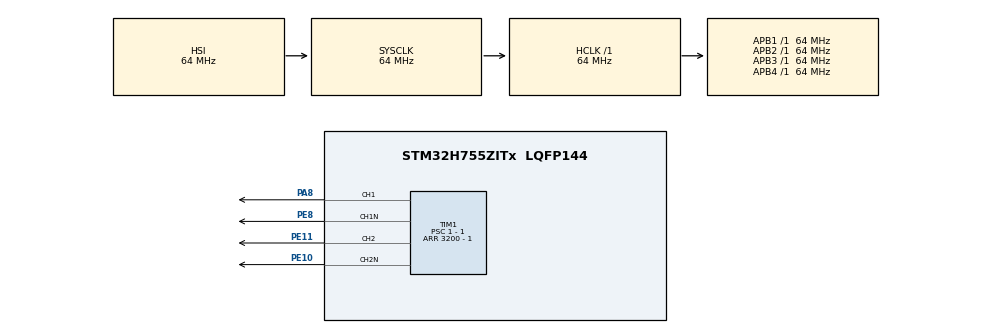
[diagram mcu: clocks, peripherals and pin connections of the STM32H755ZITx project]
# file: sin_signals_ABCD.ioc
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CortexM4.IPs=FATFS_M4\:I,FREERTOS_M4\:I,IWDG2\:I,RCC,WWDG2\:I,DMA,BDMA,MDMA,NVIC2\:I,ETH,USART3,DEBUG,PDM2PCM_M4\:I,PWR,RESMGR_UTILITY,SYS_M4\:I,USB_DEVICE_M4\:I,USB_HOST_M4\:I,CORTEX_M4\:I,GPIO,OPENAMP_M4\:I,VREFBUF,NUCLEO-H755ZI-Q
CortexM7.IPs=FATFS_M7\:I,FREERTOS_M7\:I,IWDG1\:I,RCC\:I,WWDG1\:I,DMA\:I,BDMA\:I,MDMA\:I,NVIC1\:I,ETH\:I,USART3\:I,USB_OTG_FS\:I,SYS\:I,CORTEX_M7\:I,DEBUG\:I,PDM2PCM_M7\:I,PWR\:I,RESMGR_UTILITY\:I,USB_DEVICE_M7\:I,USB_HOST_M7\:I,GPIO\:I,OPENAMP_M7\:I,VREFBUF\:I,NUCLEO-H755ZI-Q\:I,TIM1\:I
Dma.Request0=TIM1_CH1
Dma.Request1=TIM1_CH2
Dma.TIM1_CH1.0.Direction=DMA_MEMORY_TO_PERIPH
Dma.TIM1_CH1.0.EventEnable=DISABLE
Dma.TIM1_CH1.0.FIFOMode=DMA_FIFOMODE_ENABLE
Dma.TIM1_CH1.0.FIFOThreshold=DMA_FIFO_THRESHOLD_FULL
Dma.TIM1_CH1.0.Instance=DMA1_Stream0
Dma.TIM1_CH1.0.MemBurst=DMA_MBURST_SINGLE
Dma.TIM1_CH1.0.MemDataAlignment=DMA_MDATAALIGN_WORD
Dma.TIM1_CH1.0.MemInc=DMA_MINC_ENABLE
Dma.TIM1_CH1.0.Mode=DMA_CIRCULAR
Dma.TIM1_CH1.0.PeriphBurst=DMA_PBURST_SINGLE
Dma.TIM1_CH1.0.PeriphDataAlignment=DMA_PDATAALIGN_WORD
Dma.TIM1_CH1.0.PeriphInc=DMA_PINC_DISABLE
Dma.TIM1_CH1.0.Polarity=HAL_DMAMUX_REQ_GEN_RISING
Dma.TIM1_CH1.0.Priority=DMA_PRIORITY_LOW
Dma.TIM1_CH1.0.RequestNumber=1
Dma.TIM1_CH1.0.SignalID=NONE
Dma.TIM1_CH1.0.SyncEnable=DISABLE
Dma.TIM1_CH1.0.SyncPolarity=HAL_DMAMUX_SYNC_NO_EVENT
Dma.TIM1_CH1.0.SyncRequestNumber=1
Dma.TIM1_CH1.0.SyncSignalID=NONE
Dma.TIM1_CH2.1.Direction=DMA_MEMORY_TO_PERIPH
Dma.TIM1_CH2.1.EventEnable=DISABLE
Dma.TIM1_CH2.1.FIFOMode=DMA_FIFOMODE_ENABLE
Dma.TIM1_CH2.1.FIFOThreshold=DMA_FIFO_THRESHOLD_FULL
Dma.TIM1_CH2.1.Instance=DMA1_Stream1
Dma.TIM1_CH2.1.MemBurst=DMA_MBURST_SINGLE
Dma.TIM1_CH2.1.MemDataAlignment=DMA_MDATAALIGN_WORD
Dma.TIM1_CH2.1.MemInc=DMA_MINC_ENABLE
Dma.TIM1_CH2.1.Mode=DMA_CIRCULAR
Dma.TIM1_CH2.1.PeriphBurst=DMA_PBURST_SINGLE
Dma.TIM1_CH2.1.PeriphDataAlignment=DMA_PDATAALIGN_WORD
Dma.TIM1_CH2.1.PeriphInc=DMA_PINC_DISABLE
Dma.TIM1_CH2.1.Polarity=HAL_DMAMUX_REQ_GEN_RISING
Dma.TIM1_CH2.1.Priority=DMA_PRIORITY_LOW
Dma.TIM1_CH2.1.RequestNumber=1
Dma.TIM1_CH2.1.SignalID=NONE
Dma.TIM1_CH2.1.SyncEnable=DISABLE
Dma.TIM1_CH2.1.SyncPolarity=HAL_DMAMUX_SYNC_NO_EVENT
Dma.TIM1_CH2.1.SyncRequestNumber=1
Dma.TIM1_CH2.1.SyncSignalID=NONE
Mcu.Family=STM32H7
Mcu.Name=STM32H755ZITx
Mcu.Package=LQFP144
NVIC1.DMA1_Stream0_IRQn=true\:0\:0\:false\:false\:true\:false\:true\:true
NVIC1.DMA1_Stream1_IRQn=true\:0\:0\:false\:false\:true\:false\:true\:true
NVIC1.PriorityGroup=NVIC_PRIORITYGROUP_4
NVIC2.PriorityGroup=NVIC_PRIORITYGROUP_4
PA8.PinAttribute=CortexM7
PA8.Signal=S_TIM1_CH1
PE10.Mode=PWM Generation2 CH2 CH2N
PE10.PinAttribute=CortexM7
PE10.Signal=TIM1_CH2N
PE11.PinAttribute=CortexM7
PE11.Signal=S_TIM1_CH2
PE8.Mode=PWM Generation1 CH1 CH1N
PE8.PinAttribute=CortexM7
PE8.Signal=TIM1_CH1N
ProjectManager.HeapSize=M4-0x200,M7-0x200
ProjectManager.StackSize=M4-0x400,M7-0x400
ProjectManager.TargetToolchain=STM32CubeIDE
RCC.ADCFreq_Value=129000000
RCC.APB1Freq_Value=64000000
RCC.APB2Freq_Value=64000000
RCC.APB3Freq_Value=64000000
RCC.APB4Freq_Value=64000000
RCC.CortexFreq_Value=64000000
RCC.DIVM1=5
RCC.DIVN1=48
RCC.DIVQ1=5
RCC.HCLKFreq_Value=64000000
RCC.PLL2FRACN=0
RCC.PLL3FRACN=0
RCC.PLLFRACN=0
RCC.SYSCLKFreq_VALUE=64000000
RCC.SupplySource=PWR_DIRECT_SMPS_SUPPLY
RCC.USBFreq_Value=122880000
SH.S_TIM1_CH1.0=TIM1_CH1,PWM Generation1 CH1 CH1N
SH.S_TIM1_CH2.0=TIM1_CH2,PWM Generation2 CH2 CH2N
TIM1.AutoReloadPreload=TIM_AUTORELOAD_PRELOAD_ENABLE
TIM1.Channel-PWM\ Generation1\ CH1\ CH1N=TIM_CHANNEL_1
TIM1.Channel-PWM\ Generation2\ CH2\ CH2N=TIM_CHANNEL_2
TIM1.CounterMode=TIM_COUNTERMODE_CENTERALIGNED1
TIM1.Period=3200 - 1
TIM1.Prescaler=1 - 1
TIM1.Pulse-PWM\ Generation1\ CH1\ CH1N=1
TIM1.Pulse-PWM\ Generation2\ CH2\ CH2N=1
VP_SYS_M4_VS_Systick.Mode=SysTick
board=NUCLEO-H755ZI-Q

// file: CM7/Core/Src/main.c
/* USER CODE BEGIN Header */
/**
 ******************************************************************************
 * @file           : main.c
 * @brief          : Main program body
 ******************************************************************************
 * @attention
 *
 * Copyright (c) 2024 STMicroelectronics.
 * All rights reserved.
 *
 * This software is licensed under terms that can be found in the LICENSE file
 * in the root directory of this software component.
 * If no LICENSE file comes with this software, it is provided AS-IS.
 *
 ******************************************************************************
 */
/* USER CODE END Header */
#include "main.h"

/* USER CODE BEGIN PD */

#ifndef HSEM_ID_0
#define HSEM_ID_0 (0U) /* HW semaphore 0*/
#endif

/* USER CODE END PD */

TIM_HandleTypeDef htim1;
DMA_HandleTypeDef hdma_tim1_ch1;
DMA_HandleTypeDef hdma_tim1_ch2;

/* USER CODE BEGIN PV */
#define CCRValue_BufferSize 50

ALIGN_32BYTES (uint32_t DiscontinuousSineCCRValue_Buffer[CCRValue_BufferSize]) =
{
		1600,   1805,   2006,   2200,   2385,   2557,   2713,   2851,   2968,   3063,
		3134,   3179,   3199,   3193,   3160,   3102,   3019,   2912,   2784,   2637,
		2473,   2294,   2104,   1906,   1703,   1497,   1294,   1096,    906,    727,
		563,    416,    288,    181,     98,     40,      7,      1,     21,     66,
		137,    232,    349,    487,    643,    815,   1000,   1194,   1395,   1600
};

ALIGN_32BYTES (uint32_t DiscontinuousSineCCRValue_Buffer2[CCRValue_BufferSize]) =
{
		3122,   3046,   2947,   2825,   2683,   2524,   2349,   2162,   1966,   1764,
		1559,   1355,   1155,    962,    779,    610,    458,    324,    211,    121,
		55,     14,      1,     12,     50,    113,    201,    312,    444,    594,
		762,    943,   1135,   1335,   1538,   1743,   1946,   2143,   2331,   2507,
		2668,   2812,   2935,   3037,   3115,   3169,   3196,   3197,   3172,   3122
};
/* USER CODE END PV */

void SystemClock_Config(void);
static void MX_GPIO_Init(void);
static void MX_DMA_Init(void);
static void MX_TIM1_Init(void);

int main(void)
{

	/* USER CODE BEGIN 1 */

	/* Enable I-Cache---------------------------------------------------------*/
	SCB_EnableICache();

	/* Enable D-Cache---------------------------------------------------------*/
	SCB_EnableDCache();

	/* USER CODE END 1 */
	/* USER CODE BEGIN Boot_Mode_Sequence_0 */
	int32_t timeout;
	/* USER CODE END Boot_Mode_Sequence_0 */

	/* USER CODE BEGIN Boot_Mode_Sequence_1 */
	/* Wait until CPU2 boots and enters in stop mode or timeout*/
	timeout = 0xFFFF;
	while((__HAL_RCC_GET_FLAG(RCC_FLAG_D2CKRDY) != RESET) && (timeout-- > 0));
	if ( timeout < 0 )
	{
		Error_Handler();
	}
	/* USER CODE END Boot_Mode_Sequence_1 */
	/* MCU Configuration--------------------------------------------------------*/

	/* Reset of all peripherals, Initializes the Flash interface and the Systick. */
	HAL_Init();

	/* USER CODE BEGIN Init */

	/* Clean Data Cache to update the content of the SRAM to be used by the DMA */
	SCB_CleanDCache_by_Addr((uint32_t *) DiscontinuousSineCCRValue_Buffer, CCRValue_BufferSize );
	SCB_CleanDCache_by_Addr((uint32_t *) DiscontinuousSineCCRValue_Buffer2, CCRValue_BufferSize );

	/* USER CODE END Init */

	/* Configure the system clock */
	SystemClock_Config();
	/* USER CODE BEGIN Boot_Mode_Sequence_2 */
	/* When system initialization is finished, Cortex-M7 will release Cortex-M4 by means of
HSEM notification */
	/*HW semaphore Clock enable*/
	__HAL_RCC_HSEM_CLK_ENABLE();
	/*Take HSEM */
	HAL_HSEM_FastTake(HSEM_ID_0);
	/*Release HSEM in order to notify the CPU2(CM4)*/
	HAL_HSEM_Release(HSEM_ID_0,0);
	/* wait until CPU2 wakes up from stop mode */
	timeout = 0xFFFF;
	while((__HAL_RCC_GET_FLAG(RCC_FLAG_D2CKRDY) == RESET) && (timeout-- > 0));
	if ( timeout < 0 )
	{
		Error_Handler();
	}
	/* USER CODE END Boot_Mode_Sequence_2 */

	/* Initialize all configured peripherals */
	MX_GPIO_Init();
	MX_DMA_Init();
	MX_TIM1_Init();
	/* USER CODE BEGIN 2 */

	HAL_TIM_PWM_Start_DMA(&htim1, TIM_CHANNEL_1, DiscontinuousSineCCRValue_Buffer, CCRValue_BufferSize);
	//	HAL_TIM_PWM_Start(&htim1, TIM_CHANNEL_1);
	HAL_TIMEx_PWMN_Start(&htim1, TIM_CHANNEL_1);

	HAL_TIM_PWM_Start_DMA(&htim1, TIM_CHANNEL_2, DiscontinuousSineCCRValue_Buffer2, CCRValue_BufferSize);
	//	HAL_TIM_PWM_Start(&htim1, TIM_CHANNEL_2);
	HAL_TIMEx_PWMN_Start(&htim1, TIM_CHANNEL_2);

	/* USER CODE END 2 */

	/* Infinite loop */
	while (1)
	{

	}
}

void SystemClock_Config(void)
{
	RCC_OscInitTypeDef RCC_OscInitStruct = {0};
	RCC_ClkInitTypeDef RCC_ClkInitStruct = {0};

	/** Supply configuration update enable
	 */
	HAL_PWREx_ConfigSupply(PWR_DIRECT_SMPS_SUPPLY);

	/** Configure the main internal regulator output voltage
	 */
	__HAL_PWR_VOLTAGESCALING_CONFIG(PWR_REGULATOR_VOLTAGE_SCALE3);

	while(!__HAL_PWR_GET_FLAG(PWR_FLAG_VOSRDY)) {}

	/** Initializes the RCC Oscillators according to the specified parameters
	 * in the RCC_OscInitTypeDef structure.
	 */
	RCC_OscInitStruct.OscillatorType = RCC_OSCILLATORTYPE_HSI;
	RCC_OscInitStruct.HSIState = RCC_HSI_DIV1;
	RCC_OscInitStruct.HSICalibrationValue = RCC_HSICALIBRATION_DEFAULT;
	RCC_OscInitStruct.PLL.PLLState = RCC_PLL_NONE;
	if (HAL_RCC_OscConfig(&RCC_OscInitStruct) != HAL_OK)
	{
		Error_Handler();
	}

	/** Initializes the CPU, AHB and APB buses clocks
	 */
	RCC_ClkInitStruct.ClockType = RCC_CLOCKTYPE_HCLK|RCC_CLOCKTYPE_SYSCLK
			|RCC_CLOCKTYPE_PCLK1|RCC_CLOCKTYPE_PCLK2
			|RCC_CLOCKTYPE_D3PCLK1|RCC_CLOCKTYPE_D1PCLK1;
	RCC_ClkInitStruct.SYSCLKSource = RCC_SYSCLKSOURCE_HSI;
	RCC_ClkInitStruct.SYSCLKDivider = RCC_SYSCLK_DIV1;
	RCC_ClkInitStruct.AHBCLKDivider = RCC_HCLK_DIV1;
	RCC_ClkInitStruct.APB3CLKDivider = RCC_APB3_DIV1;
	RCC_ClkInitStruct.APB1CLKDivider = RCC_APB1_DIV1;
	RCC_ClkInitStruct.APB2CLKDivider = RCC_APB2_DIV1;
	RCC_ClkInitStruct.APB4CLKDivider = RCC_APB4_DIV1;

	if (HAL_RCC_ClockConfig(&RCC_ClkInitStruct, FLASH_LATENCY_1) != HAL_OK)
	{
		Error_Handler();
	}
}

static void MX_TIM1_Init(void)
{

	TIM_MasterConfigTypeDef sMasterConfig = {0};
	TIM_OC_InitTypeDef sConfigOC = {0};
	TIM_BreakDeadTimeConfigTypeDef sBreakDeadTimeConfig = {0};

	htim1.Instance = TIM1;
	htim1.Init.Prescaler = 1 - 1;
	htim1.Init.CounterMode = TIM_COUNTERMODE_CENTERALIGNED1;
	htim1.Init.Period = 3200 - 1;
	htim1.Init.ClockDivision = TIM_CLOCKDIVISION_DIV1;
	htim1.Init.RepetitionCounter = 0;
	htim1.Init.AutoReloadPreload = TIM_AUTORELOAD_PRELOAD_ENABLE;
	if (HAL_TIM_PWM_Init(&htim1) != HAL_OK)
	{
		Error_Handler();
	}
	sMasterConfig.MasterOutputTrigger = TIM_TRGO_RESET;
	sMasterConfig.MasterOutputTrigger2 = TIM_TRGO2_RESET;
	sMasterConfig.MasterSlaveMode = TIM_MASTERSLAVEMODE_DISABLE;
	if (HAL_TIMEx_MasterConfigSynchronization(&htim1, &sMasterConfig) != HAL_OK)
	{
		Error_Handler();
	}
	sConfigOC.OCMode = TIM_OCMODE_PWM1;
	sConfigOC.Pulse = 1;
	sConfigOC.OCPolarity = TIM_OCPOLARITY_HIGH;
	sConfigOC.OCNPolarity = TIM_OCNPOLARITY_HIGH;
	sConfigOC.OCFastMode = TIM_OCFAST_DISABLE;
	sConfigOC.OCIdleState = TIM_OCIDLESTATE_RESET;
	sConfigOC.OCNIdleState = TIM_OCNIDLESTATE_RESET;
	if (HAL_TIM_PWM_ConfigChannel(&htim1, &sConfigOC, TIM_CHANNEL_1) != HAL_OK)
	{
		Error_Handler();
	}
	if (HAL_TIM_PWM_ConfigChannel(&htim1, &sConfigOC, TIM_CHANNEL_2) != HAL_OK)
	{
		Error_Handler();
	}
	sBreakDeadTimeConfig.OffStateRunMode = TIM_OSSR_DISABLE;
	sBreakDeadTimeConfig.OffStateIDLEMode = TIM_OSSI_DISABLE;
	sBreakDeadTimeConfig.LockLevel = TIM_LOCKLEVEL_OFF;
	sBreakDeadTimeConfig.DeadTime = 0;
	sBreakDeadTimeConfig.BreakState = TIM_BREAK_DISABLE;
	sBreakDeadTimeConfig.BreakPolarity = TIM_BREAKPOLARITY_HIGH;
	sBreakDeadTimeConfig.BreakFilter = 0;
	sBreakDeadTimeConfig.Break2State = TIM_BREAK2_DISABLE;
	sBreakDeadTimeConfig.Break2Polarity = TIM_BREAK2POLARITY_HIGH;
	sBreakDeadTimeConfig.Break2Filter = 0;
	sBreakDeadTimeConfig.AutomaticOutput = TIM_AUTOMATICOUTPUT_DISABLE;
	if (HAL_TIMEx_ConfigBreakDeadTime(&htim1, &sBreakDeadTimeConfig) != HAL_OK)
	{
		Error_Handler();
	}
	HAL_TIM_MspPostInit(&htim1);

}

static void MX_DMA_Init(void)
{

	/* DMA controller clock enable */
	__HAL_RCC_DMA1_CLK_ENABLE();

	/* DMA interrupt init */
	/* DMA1_Stream0_IRQn interrupt configuration */
	HAL_NVIC_SetPriority(DMA1_Stream0_IRQn, 0, 0);
	HAL_NVIC_EnableIRQ(DMA1_Stream0_IRQn);
	/* DMA1_Stream1_IRQn interrupt configuration */
	HAL_NVIC_SetPriority(DMA1_Stream1_IRQn, 0, 0);
	HAL_NVIC_EnableIRQ(DMA1_Stream1_IRQn);

}

static void MX_GPIO_Init(void)
{

	/* GPIO Ports Clock Enable */
	__HAL_RCC_GPIOE_CLK_ENABLE();
	__HAL_RCC_GPIOA_CLK_ENABLE();

}

void Error_Handler(void)
{
	__disable_irq();
	while (1)
	{
	}
}
